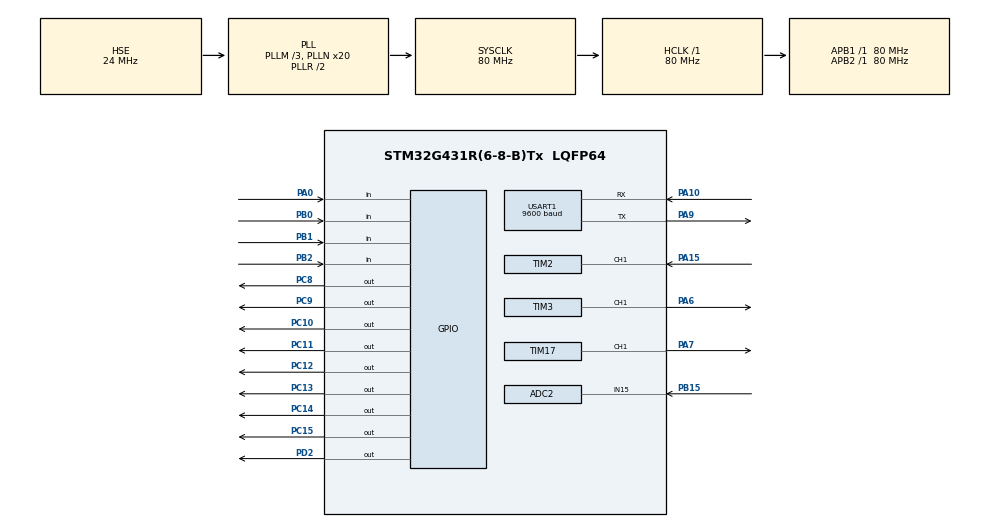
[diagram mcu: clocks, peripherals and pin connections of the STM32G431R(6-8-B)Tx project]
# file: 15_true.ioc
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ADC2.Channel-0\#ChannelRegularConversion=ADC_CHANNEL_15
ADC2.ContinuousConvMode=ENABLE
ADC2.DMAContinuousRequests=ENABLE
ADC2.NbrOfConversionFlag=1
ADC2.OffsetNumber-0\#ChannelRegularConversion=ADC_OFFSET_NONE
ADC2.Rank-0\#ChannelRegularConversion=1
ADC2.SamplingTime-0\#ChannelRegularConversion=ADC_SAMPLETIME_2CYCLES_5
Dma.ADC2.0.Direction=DMA_PERIPH_TO_MEMORY
Dma.ADC2.0.EventEnable=DISABLE
Dma.ADC2.0.Instance=DMA1_Channel1
Dma.ADC2.0.MemDataAlignment=DMA_MDATAALIGN_HALFWORD
Dma.ADC2.0.MemInc=DMA_MINC_ENABLE
Dma.ADC2.0.Mode=DMA_CIRCULAR
Dma.ADC2.0.PeriphDataAlignment=DMA_PDATAALIGN_WORD
Dma.ADC2.0.PeriphInc=DMA_PINC_DISABLE
Dma.ADC2.0.Polarity=HAL_DMAMUX_REQ_GEN_RISING
Dma.ADC2.0.Priority=DMA_PRIORITY_LOW
Dma.ADC2.0.RequestNumber=1
Dma.ADC2.0.SignalID=NONE
Dma.ADC2.0.SyncEnable=DISABLE
Dma.ADC2.0.SyncPolarity=HAL_DMAMUX_SYNC_NO_EVENT
Dma.ADC2.0.SyncRequestNumber=1
Dma.ADC2.0.SyncSignalID=NONE
Dma.Request0=ADC2
Mcu.Family=STM32G4
Mcu.Name=STM32G431R(6-8-B)Tx
Mcu.Package=LQFP64
NVIC.PriorityGroup=NVIC_PRIORITYGROUP_4
NVIC.TIM2_IRQn=true\:0\:0\:false\:false\:true\:true\:true\:true
NVIC.TIM4_IRQn=true\:0\:0\:false\:false\:true\:true\:true\:true
NVIC.USART1_IRQn=true\:0\:0\:false\:false\:true\:true\:true\:true
PA0.Signal=GPIO_Input
PA10.Mode=Asynchronous
PA10.Signal=USART1_RX
PA13.Mode=Serial_Wire
PA13.Signal=SYS_JTMS-SWDIO
PA14.Mode=Serial_Wire
PA14.Signal=SYS_JTCK-SWCLK
PA15.Signal=S_TIM2_CH1
PA6.Signal=S_TIM3_CH1
PA7.Signal=S_TIM17_CH1
PA9.Mode=Asynchronous
PA9.Signal=USART1_TX
PB0.Signal=GPIO_Input
PB1.Signal=GPIO_Input
PB15.Mode=IN15-Single-Ended
PB15.Signal=ADC2_IN15
PB2.Signal=GPIO_Input
PC10.PinState=GPIO_PIN_SET
PC10.Signal=GPIO_Output
PC11.PinState=GPIO_PIN_SET
PC11.Signal=GPIO_Output
PC12.PinState=GPIO_PIN_SET
PC12.Signal=GPIO_Output
PC13.PinState=GPIO_PIN_SET
PC13.Signal=GPIO_Output
PC14-OSC32_IN.PinState=GPIO_PIN_SET
PC14-OSC32_IN.Signal=GPIO_Output
PC15-OSC32_OUT.PinState=GPIO_PIN_SET
PC15-OSC32_OUT.Signal=GPIO_Output
PC8.PinState=GPIO_PIN_SET
PC8.Signal=GPIO_Output
PC9.PinState=GPIO_PIN_SET
PC9.Signal=GPIO_Output
PD2.Signal=GPIO_Output
PF0-OSC_IN.Mode=HSE-External-Oscillator
PF0-OSC_IN.Signal=RCC_OSC_IN
PF1-OSC_OUT.Mode=HSE-External-Oscillator
PF1-OSC_OUT.Signal=RCC_OSC_OUT
ProjectManager.HeapSize=0x200
ProjectManager.StackSize=0x400
ProjectManager.TargetToolchain=MDK-ARM V5.32
RCC.ADC12Freq_Value=80000000
RCC.AHBFreq_Value=80000000
RCC.APB1Freq_Value=80000000
RCC.APB1TimFreq_Value=80000000
RCC.APB2Freq_Value=80000000
RCC.APB2TimFreq_Value=80000000
RCC.CortexFreq_Value=80000000
RCC.EXTERNAL_CLOCK_VALUE=12288000
RCC.HCLKFreq_Value=80000000
RCC.HSE_VALUE=24000000
RCC.HSI48_VALUE=48000000
RCC.HSI_VALUE=16000000
RCC.LSE_VALUE=32768
RCC.PLLM=RCC_PLLM_DIV3
RCC.PLLN=20
RCC.PLLSourceVirtual=RCC_PLLSOURCE_HSE
RCC.SYSCLKFreq_VALUE=80000000
RCC.SYSCLKSource=RCC_SYSCLKSOURCE_PLLCLK
RCC.USBFreq_Value=80000000
RCC.VCOOutputFreq_Value=160000000
SH.S_TIM17_CH1.0=TIM17_CH1,PWM Generation1 CH1
SH.S_TIM2_CH1.0=TIM2_CH1,Input_Capture1_from_TI1
SH.S_TIM3_CH1.0=TIM3_CH1,PWM Generation1 CH1
TIM17.Channel=TIM_CHANNEL_1
TIM17.PeriodNoDither=2000 - 1
TIM17.Prescaler=10 - 1
TIM17.PulseNoDither_1=1000
TIM2.Channel-Input_Capture1_from_TI1=TIM_CHANNEL_1
TIM2.Prescaler=80 - 1
TIM3.Channel-PWM\ Generation1\ CH1=TIM_CHANNEL_1
TIM3.PeriodNoDither=2000 - 1
TIM3.Prescaler=10 - 1
TIM3.PulseNoDither_1=1000
TIM4.PeriodNoDither=10000 - 1
TIM4.Prescaler=80 - 1
USART1.BaudRate=9600
USART1.VirtualMode-Asynchronous=VM_ASYNC
VP_SYS_VS_DBSignals.Mode=DisableDeadBatterySignals
VP_TIM17_VS_ClockSourceINT.Mode=Enable_Timer
VP_TIM2_VS_ClockSourceINT.Mode=Internal
VP_TIM3_VS_ClockSourceINT.Mode=Internal
VP_TIM4_VS_ClockSourceINT.Mode=Internal
board=custom

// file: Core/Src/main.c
/* USER CODE BEGIN Header */
/**
  ******************************************************************************
  * @file           : main.c
  * @brief          : Main program body
  ******************************************************************************
  * @attention
  *
  * Copyright (c) 2025 STMicroelectronics.
  * All rights reserved.
  *
  * This software is licensed under terms that can be found in the LICENSE file
  * in the root directory of this software component.
  * If no LICENSE file comes with this software, it is provided AS-IS.
  *
  ******************************************************************************
  */
/* USER CODE END Header */
#include "main.h"
#include "adc.h"
#include "dma.h"
#include "tim.h"
#include "usart.h"
#include "gpio.h"

/* USER CODE BEGIN PD */
extern void led_init(void);
extern void led_task(void);
extern void adc_init(void);
extern void adc_task(void);
extern void key_init(void);
extern void key_task(void);
extern void pwm_init(void);
extern void pwm_task(void);
extern void uart_init(void);
extern void uart_task(void);
extern void lcd_init(void);
extern void lcd_task(void);
extern void work_task(void);

bool led_flag, adc_flag, pwm_flag, lcd_flag, uart_flag, key_flag;
/* USER CODE END PD */

void SystemClock_Config(void);

int main(void)
{

  /* MCU Configuration--------------------------------------------------------*/

  /* Reset of all peripherals, Initializes the Flash interface and the Systick. */
  HAL_Init();

  /* Configure the system clock */
  SystemClock_Config();

  /* Initialize all configured peripherals */
  MX_GPIO_Init();
  MX_DMA_Init();
  MX_ADC2_Init();
  MX_TIM3_Init();
  MX_TIM17_Init();
  MX_USART1_UART_Init();
  MX_TIM2_Init();
  MX_TIM4_Init();
  /* USER CODE BEGIN 2 */
	lcd_init();
	led_init();
	adc_init();
	key_init();
	pwm_init();
	uart_init();

  /* USER CODE END 2 */

  /* Infinite loop */
  /* USER CODE BEGIN WHILE */
  while (1)
  {
	  if(lcd_flag == 1)
	  {
		  lcd_flag = 0;
		  lcd_task();
	  }

	  if(pwm_flag == 1)
	  {
		  pwm_flag = 0;
		  pwm_task();
	  }

	  if(adc_flag == 1)
	  {
		  adc_flag = 0;
		  adc_task();
	  }

	  if(uart_flag == 1)
	  {
		  uart_flag = 0;
		  uart_task();
	  }

	  if(key_flag == 1)
	  {
		  key_flag = 0;
		  key_task();
	  }
	  led_task();

	  work_task();
    /* USER CODE END WHILE */

  }
}

void SystemClock_Config(void)
{
  RCC_OscInitTypeDef RCC_OscInitStruct = {0};
  RCC_ClkInitTypeDef RCC_ClkInitStruct = {0};

  /** Configure the main internal regulator output voltage
  */
  HAL_PWREx_ControlVoltageScaling(PWR_REGULATOR_VOLTAGE_SCALE1);

  /** Initializes the RCC Oscillators according to the specified parameters
  * in the RCC_OscInitTypeDef structure.
  */
  RCC_OscInitStruct.OscillatorType = RCC_OSCILLATORTYPE_HSE;
  RCC_OscInitStruct.HSEState = RCC_HSE_ON;
  RCC_OscInitStruct.PLL.PLLState = RCC_PLL_ON;
  RCC_OscInitStruct.PLL.PLLSource = RCC_PLLSOURCE_HSE;
  RCC_OscInitStruct.PLL.PLLM = RCC_PLLM_DIV3;
  RCC_OscInitStruct.PLL.PLLN = 20;
  RCC_OscInitStruct.PLL.PLLP = RCC_PLLP_DIV2;
  RCC_OscInitStruct.PLL.PLLQ = RCC_PLLQ_DIV2;
  RCC_OscInitStruct.PLL.PLLR = RCC_PLLR_DIV2;
  if (HAL_RCC_OscConfig(&RCC_OscInitStruct) != HAL_OK)
  {
    Error_Handler();
  }

  /** Initializes the CPU, AHB and APB buses clocks
  */
  RCC_ClkInitStruct.ClockType = RCC_CLOCKTYPE_HCLK|RCC_CLOCKTYPE_SYSCLK
                              |RCC_CLOCKTYPE_PCLK1|RCC_CLOCKTYPE_PCLK2;
  RCC_ClkInitStruct.SYSCLKSource = RCC_SYSCLKSOURCE_PLLCLK;
  RCC_ClkInitStruct.AHBCLKDivider = RCC_SYSCLK_DIV1;
  RCC_ClkInitStruct.APB1CLKDivider = RCC_HCLK_DIV1;
  RCC_ClkInitStruct.APB2CLKDivider = RCC_HCLK_DIV1;

  if (HAL_RCC_ClockConfig(&RCC_ClkInitStruct, FLASH_LATENCY_2) != HAL_OK)
  {
    Error_Handler();
  }
}

void Error_Handler(void)
{
  __disable_irq();
  while (1)
  {
  }
}
